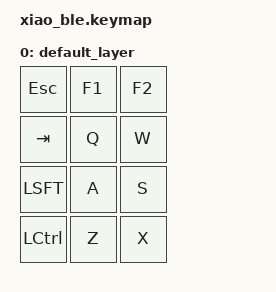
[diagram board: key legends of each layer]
#include <behaviors.dtsi>
#include <dt-bindings/zmk/keys.h>

/ {
	keymap {
		compatible = "zmk,keymap";

		default_layer {
			bindings = <
&kp ESC   &kp F1    &kp F2
&kp TAB   &kp Q     &kp W
&kp LSFT  &kp A     &kp S
&kp LCTRL &kp Z     &kp X
			>;
		};
	};
};
